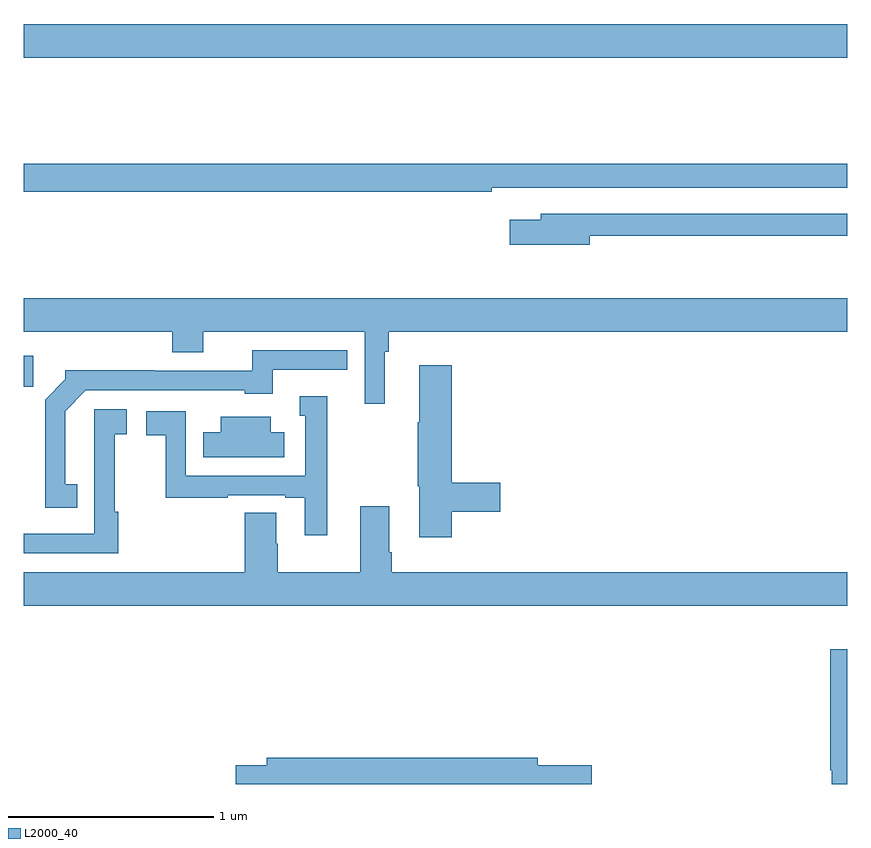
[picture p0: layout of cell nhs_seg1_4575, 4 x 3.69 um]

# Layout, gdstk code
import gdstk
lib = gdstk.Library(unit=1e-6, precision=1e-09)
def R(c, l, rs):  # rectangles x0, y0, x1, y1
    for r in rs: c.add(gdstk.rectangle(r[:2], r[2:], *l))
def P(c, l, *ps):  # polygons
    for p in ps: c.add(gdstk.Polygon(p, *l))
L2000_40 = (2000, 40)

nhs_seg1_4575 = lib.new_cell('nhs_seg1_4575')
R(nhs_seg1_4575, L2000_40, [(359,554.129,359.045,554.281), (359,555.728,363,555.892)])
P(nhs_seg1_4575, L2000_40, [(361.274,555.096),(363,555.096),(363,555.212),(359,555.212),(359,555.076),(361.274,555.076)],
  [(361.75,554.862),(363,554.862),(363,554.97),(361.511,554.97),(361.511,554.941),(361.362,554.941),(361.362,554.819),(361.75,554.819)],
  [(360.754,554.3),(360.773,554.3),(360.773,554.396),(363,554.396),(363,554.56),(359,554.56),(359,554.396),(359.72,554.396),(359.72,554.297),(359.872,554.297),(359.872,554.396),(360.657,554.396),(360.657,554.046),(360.754,554.046)],
  [(359.258,553.655),(359.2,553.655),(359.2,554.011),(359.301,554.112),(360.072,554.112),(360.072,554.096),(360.208,554.096),(360.208,554.211),(360.572,554.211),(360.572,554.307),(360.109,554.307),(360.109,554.208),(359.636,554.208),(359.636,554.21),(359.202,554.21),(359.202,554.165),(359.103,554.066),(359.103,553.542),(359.258,553.542)],
  [(361.079,553.522),(361.315,553.522),(361.315,553.664),(361.079,553.664),(361.079,554.233),(360.92,554.233),(360.92,553.958),(360.913,553.958),(360.913,553.647),(360.92,553.647),(360.92,553.398),(361.079,553.398)],
  [(360.475,554.083),(360.341,554.083),(360.341,553.989),(360.366,553.989),(360.366,553.698),(359.787,553.698),(359.787,554.01),(359.595,554.01),(359.595,553.894),(359.689,553.894),(359.689,553.59),(359.99,553.59),(359.99,553.602),(360.269,553.602),(360.269,553.59),(360.365,553.59),(360.365,553.407),(360.475,553.407)],
  [(359.459,553.523),(359.442,553.523),(359.442,553.899),(359.5,553.899),(359.5,554.02),(359.342,554.02),(359.342,553.744),(359.343,553.744),(359.343,553.416),(359,553.416),(359,553.32),(359.459,553.32)],
  [(360.265,553.909),(360.199,553.909),(360.199,553.984),(359.957,553.984),(359.957,553.909),(359.872,553.909),(359.872,553.787),(360.265,553.787)],
  [(363,553.228),(360.788,553.228),(360.788,553.324),(360.775,553.324),(360.775,553.549),(360.635,553.549),(360.635,553.228),(360.234,553.228),(360.234,553.367),(360.226,553.367),(360.226,553.517),(360.074,553.517),(360.074,553.228),(359,553.228),(359,553.064),(363,553.064)],
  [(363,552.853),(362.917,552.853),(362.917,552.265),(362.925,552.265),(362.925,552.199),(363,552.199)],
  [(361.759,552.29),(361.498,552.29),(361.498,552.326),(360.179,552.326),(360.179,552.29),(360.03,552.29),(360.03,552.199),(361.759,552.199)])

lib.write_gds('nhs_seg1_4575.gds')
